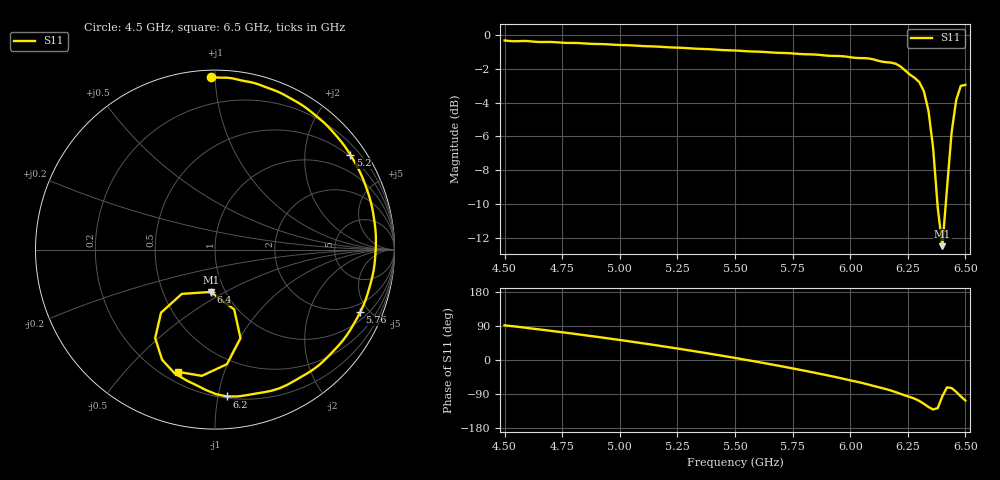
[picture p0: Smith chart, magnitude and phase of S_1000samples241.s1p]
! TOUCHSTONE file generated by CST MICROWAVE STUDIO
! Date and time: Thu Oct 27 12:01:22 2022
! Project name: L.cst
! Parameters = {Di=1.27; Epsilon_r=1.56; InnerDiameter=1.27; Length=2; Lf=10; Lg=60; OuterConductorThickness=0.2921; OuterDiameter=3.6; Wf=3; Wp=41.2; de=1.5; df=6.8; g=0.8; gx=3.44912; gy=3.43725; h=2.34; hf=1.524; px=8.61677; py=13.9829; w=9.7; wx=5.16765; wy=10.5456}
! Header version: 2018
! Port assignment regex: !\s*Touchstone port\s*([0-9]+)\s*=\s*(CST MWS port|CST DS port)\s*([0-9]+|Zmin|Zmax)\s*\(\"(.*)\"\)(\s*mode\s*([0-9]+))?.*
! Touchstone port assignment:
! Touchstone port 1 = CST MWS port 1 ("")
# GHz S DB R 50
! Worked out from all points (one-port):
!   101 points, 4.5 GHz to 6.5 GHz, reference 50 ohm
!   lowest |S11| = -12.5 dB at 6.4 GHz (marker M1), VSWR 1.62, Z = 42.7 - j21.4 ohm
!   |S11| at or under -10 dB: 6.379 GHz to 6.415 GHz (36.03 MHz wide, 0.563 % of centre)
!   S11 on the Smith chart (normalised r, x): 4.5 GHz: 0.04, +0.97; 5.2 GHz: 0.45, +3.12; 5.76 GHz: 1.41, -4.40; 6.2 GHz: 0.21, -1.06; 6.4 GHz: 0.85, -0.43; 6.5 GHz: 0.26, -0.71
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4.5  -0.32 91.4
4.6  -0.36 84.4
4.76  -0.46 72.4
4.9  -0.53 61.2
5  -0.59 52.8
5.2  -0.72 35.0
5.26  -0.75 29.4
5.38  -0.84 17.7
5.5  -0.92 5.4
5.62  -1.00 -7.5
5.76  -1.10 -23.4
5.86  -1.17 -35.4
6  -1.32 -53.6
6.1  -1.44 -68.2
6.16  -1.62 -77.6
6.2  -1.72 -85.3
6.26  -2.35 -97.7
6.3  -2.79 -108.1
6.32  -3.34 -115.6
6.34  -4.51 -124.1
6.36  -6.70 -130.6
6.38  -10.22 -126.9
6.4  -12.50 -95.9
6.42  -9.12 -72.2
6.44  -5.78 -74.0
6.46  -3.85 -84.0
6.48  -3.01 -96.0
6.5  -2.95 -107.0
